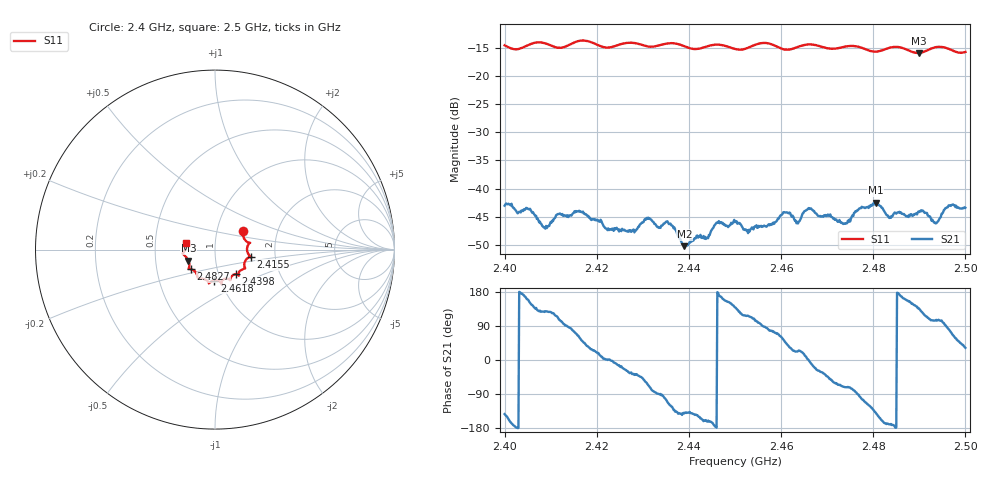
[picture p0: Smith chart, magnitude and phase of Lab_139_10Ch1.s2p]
# Hz S RI R 50
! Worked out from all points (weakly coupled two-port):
!   601 points, 2.4 GHz to 2.5 GHz, reference 50 ohm
!   highest |S21| = -42.49 dB at 2.4805 GHz (marker M1); lowest = -50.2 dB at 2.439 GHz (marker M2)
!   lowest |S11| = -15.9 dB at 2.4898 GHz (marker M3), VSWR 1.38, Z = 36.8 - j4.62 ohm
!   |S11| at or under -10 dB: start of sweep to end of sweep
!   S12 and S22 are empty: the file has one direction only
!   S11 on the Smith chart (normalised r, x): 2.4 GHz: 1.33, +0.29; 2.4155 GHz: 1.49, -0.12; 2.4398 GHz: 1.21, -0.34; 2.4618 GHz: 0.94, -0.33; 2.4827 GHz: 0.75, -0.17; 2.5 GHz: 0.72, +0.06
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2.4e9  0.1549 0.1061  -0.00561 -0.00427  0 0  0 0
2.408833e9  0.1922 0.0359  -0.00275 0.00343  0 0  0 0
2.4155e9  0.1978 -0.0397  0.00219 0.00593  0 0  0 0
2.416667e9  0.2025 -0.0431  0.00379 0.00487  0 0  0 0
2.422667e9  0.1644 -0.0722  0.00427 0.000133  0 0  0 0
2.433333e9  0.1301 -0.134  5.92e-05 -0.00456  0 0  0 0
2.435667e9  0.1313 -0.1452  -0.00212 -0.00434  0 0  0 0
2.439e9  0.1228 -0.1373  -0.00239 -0.00194  0 0  0 0
2.439833e9  0.1155 -0.1363  -0.00238 -0.00208  0 0  0 0
2.45e9  0.0646 -0.1619  -0.00379 0.0033  0 0  0 0
2.453e9  0.0379 -0.1756  -0.00185 0.00388  0 0  0 0
2.461833e9  -0.00314 -0.1723  0.00513 0.00336  0 0  0 0
2.463667e9  -0.0249 -0.1803  0.0045 0.00191  0 0  0 0
2.466667e9  -0.0342 -0.1879  0.00638 -0.00129  0 0  0 0
2.473833e9  -0.0873 -0.1607  0.00153 -0.00462  0 0  0 0
2.4805e9  -0.1141 -0.1189  -0.00561 -0.00499  0 0  0 0
2.482667e9  -0.1352 -0.109  -0.00587 -0.00136  0 0  0 0
2.483333e9  -0.1404 -0.1087  -0.00547 -0.00103  0 0  0 0
2.489833e9  -0.1484 -0.0612  -0.00458 0.00427  0 0  0 0
2.493667e9  -0.1797 -0.0233  -0.00135 0.00472  0 0  0 0
2.496167e9  -0.1753 -0.0141  0.000722 0.00678  0 0  0 0
2.5e9  -0.1594 0.0387  0.00572 0.00359  0 0  0 0
